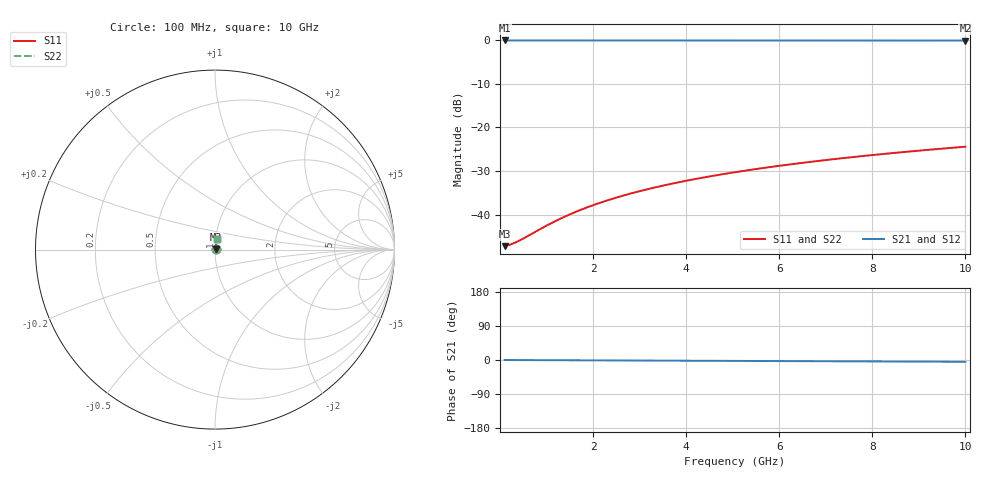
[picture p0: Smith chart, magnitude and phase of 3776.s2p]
# Hz S RI R 50.00
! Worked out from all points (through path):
!   100 points, 100 MHz to 10 GHz, reference 50 ohm
!   highest |S21| = -0.04 dB at 100 MHz (marker M1); lowest = -0.1 dB at 10 GHz (marker M2)
!   lowest |S11| = -47.2 dB at 100 MHz (marker M3), VSWR 1.01, Z = 50.4 + j0.0602 ohm
!   |S11| at or under -10 dB: start of sweep to end of sweep
!   |S22| runs from -47.2 to -24.4 dB; largest |S21 - S12| = 0
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1e8  0.00431 0.000597  0.9957 -0.000823  0.9957 -0.000823  0.00431 0.000597
2e8  0.00434 0.00119  0.9957 -0.00165  0.9957 -0.00165  0.00434 0.00119
3e8  0.00436 0.00179  0.9956 -0.00247  0.9956 -0.00247  0.00436 0.00179
4e8  0.00438 0.00239  0.9956 -0.00329  0.9956 -0.00329  0.00438 0.00239
1e9  0.00449 0.00597  0.9955 -0.00823  0.9955 -0.00823  0.00449 0.00597
1.2e9  0.00453 0.00716  0.9955 -0.00988  0.9955 -0.00988  0.00453 0.00716
1.5e9  0.00459 0.00895  0.9954 -0.0123  0.9954 -0.0123  0.00459 0.00895
1.8e9  0.00465 0.0107  0.9953 -0.0148  0.9953 -0.0148  0.00465 0.0107
2.1e9  0.00473 0.0125  0.9953 -0.0173  0.9953 -0.0173  0.00473 0.0125
2.5e9  0.00484 0.0149  0.9951 -0.0206  0.9951 -0.0206  0.00484 0.0149
2.9e9  0.00496 0.0173  0.995 -0.0239  0.995 -0.0239  0.00496 0.0173
3.4e9  0.00514 0.0203  0.9948 -0.028  0.9948 -0.028  0.00514 0.0203
3.8e9  0.0053 0.0227  0.9947 -0.0313  0.9947 -0.0313  0.0053 0.0227
4.2e9  0.00547 0.025  0.9945 -0.0346  0.9945 -0.0346  0.00547 0.025
4.6e9  0.00566 0.0274  0.9943 -0.0378  0.9943 -0.0378  0.00566 0.0274
5.1e9  0.00591 0.0304  0.994 -0.0419  0.994 -0.0419  0.00591 0.0304
5.9e9  0.00637 0.0351  0.9935 -0.0485  0.9935 -0.0485  0.00637 0.0351
6.7e9  0.00689 0.0399  0.993 -0.0551  0.993 -0.0551  0.00689 0.0399
7.5e9  0.00748 0.0446  0.9924 -0.0616  0.9924 -0.0616  0.00748 0.0446
8.4e9  0.00821 0.0499  0.9916 -0.069  0.9916 -0.069  0.00821 0.0499
9.2e9  0.00892 0.0547  0.9908 -0.0755  0.9908 -0.0755  0.00892 0.0547
1e10  0.0097 0.0594  0.99 -0.082  0.99 -0.082  0.0097 0.0594
